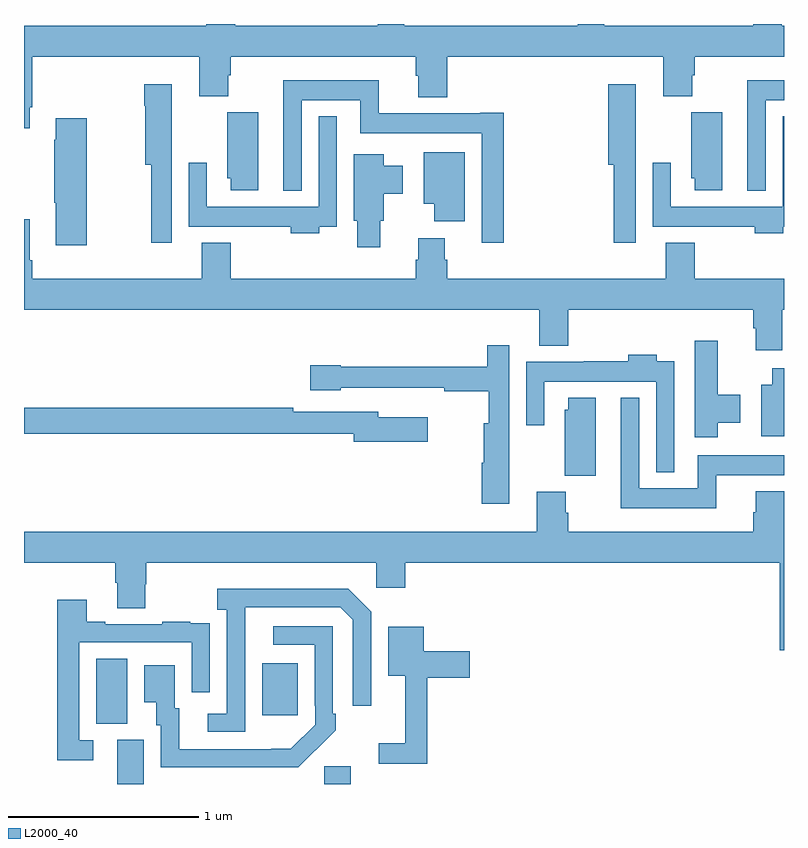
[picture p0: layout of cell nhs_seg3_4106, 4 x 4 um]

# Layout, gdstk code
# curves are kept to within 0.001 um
import gdstk
lib = gdstk.Library(unit=1e-6, precision=1e-09)
def R(c, l, rs):  # rectangles x0, y0, x1, y1
    for r in rs: c.add(gdstk.rectangle(r[:2], r[2:], *l))
def P(c, l, *ps):  # polygons
    for p in ps: c.add(gdstk.Polygon(p, *l))
L2000_40 = (2000, 40)

nhs_seg3_4106 = lib.new_cell('nhs_seg3_4106')
R(nhs_seg3_4106, L2000_40, [(327.491,718.4,327.631,718.632), (328.581,718.4,328.72,718.494), (327.38,718.717,327.544,719.06), (328.253,718.761,328.441,719.035)])
P(nhs_seg3_4106, L2000_40, [(329.063,722.127),(329.075,722.127),(329.075,722.015),(329.228,722.015),(329.228,722.228),(330.365,722.228),(330.365,722.02),(330.517,722.02),(330.517,722.129),(330.53,722.129),(330.53,722.228),(331,722.228),(331,722.392),(330.987,722.392),(330.987,722.4),(330.839,722.4),(330.839,722.392),(330.055,722.392),(330.055,722.4),(329.915,722.4),(329.915,722.392),(329.001,722.392),(329.001,722.4),(328.863,722.4),(328.863,722.392),(328.111,722.392),(328.111,722.4),(327.959,722.4),(327.959,722.392),(327,722.392),(327,721.851),(327.031,721.851),(327.031,721.963),(327.044,721.963),(327.044,722.228),(327.923,722.228),(327.923,722.02),(328.075,722.02),(328.075,722.129),(328.088,722.129),(328.088,722.228),(329.063,722.228)],
  [(329.525,721.933),(329.402,721.933),(329.402,721.93),(328.868,721.93),(328.868,722.104),(328.364,722.104),(328.364,721.523),(328.461,721.523),(328.461,722),(328.77,722),(328.77,721.826),(329.409,721.826),(329.409,721.248),(329.525,721.248)],
  [(330.903,722),(331,722),(331,722.104),(330.806,722.104),(330.806,721.523),(330.903,721.523)],
  [(327.777,721.762),(327.778,721.762),(327.778,722.083),(327.632,722.083),(327.632,721.97),(327.637,721.97),(327.637,721.658),(327.669,721.658),(327.669,721.248),(327.777,721.248)],
  [(330.219,721.762),(330.22,721.762),(330.22,722.083),(330.074,722.083),(330.074,721.658),(330.103,721.658),(330.103,721.248),(330.219,721.248)],
  [(328.234,721.935),(328.07,721.935),(328.07,721.587),(328.088,721.587),(328.088,721.524),(328.234,721.524)],
  [(330.676,721.935),(330.512,721.935),(330.512,721.587),(330.53,721.587),(330.53,721.524),(330.676,721.524)],
  [(330.997,721.332),(331,721.332),(331,721.915),(330.993,721.915),(330.993,721.438),(330.405,721.438),(330.405,721.669),(330.309,721.669),(330.309,721.334),(330.613,721.334),(330.613,721.332),(330.845,721.332),(330.845,721.298),(330.997,721.298)],
  [(328.555,721.332),(328.647,721.332),(328.647,721.915),(328.551,721.915),(328.551,721.438),(327.963,721.438),(327.963,721.669),(327.867,721.669),(327.867,721.334),(328.171,721.334),(328.171,721.332),(328.403,721.332),(328.403,721.298),(328.555,721.298)],
  [(327.33,721.903),(327.167,721.903),(327.167,721.79),(327.16,721.79),(327.16,721.459),(327.167,721.459),(327.167,721.236),(327.33,721.236)],
  [(329.32,721.726),(329.105,721.726),(329.105,721.454),(329.159,721.454),(329.159,721.361),(329.32,721.361)],
  [(328.876,721.365),(328.894,721.365),(328.894,721.507),(328.993,721.507),(328.993,721.654),(328.894,721.654),(328.894,721.714),(328.736,721.714),(328.736,721.365),(328.754,721.365),(328.754,721.224),(328.876,721.224)],
  [(327.031,721.156),(327.031,721.372),(327,721.372),(327,720.896),(329.711,720.896),(329.711,720.707),(329.864,720.707),(329.864,720.896),(330.839,720.896),(330.839,720.798),(330.851,720.798),(330.851,720.684),(330.991,720.684),(330.991,720.896),(331,720.896),(331,721.06),(330.53,721.06),(330.53,721.249),(330.377,721.249),(330.377,721.06),(329.228,721.06),(329.228,721.158),(329.215,721.158),(329.215,721.273),(329.075,721.273),(329.075,721.158),(329.063,721.158),(329.063,721.06),(328.088,721.06),(328.088,721.249),(327.935,721.249),(327.935,721.06),(327.044,721.06),(327.044,721.156)],
  [(330.652,720.302),(330.769,720.302),(330.769,720.45),(330.652,720.45),(330.652,720.733),(330.53,720.733),(330.53,720.225),(330.652,720.225)],
  [(329.554,720.194),(329.553,720.194),(329.553,720.709),(329.437,720.709),(329.437,720.595),(328.668,720.595),(328.668,720.603),(328.506,720.603),(328.506,720.473),(328.668,720.473),(328.668,720.486),(328.96,720.486),(328.96,720.485),(329.212,720.485),(329.212,720.466),(329.445,720.466),(329.445,720.298),(329.42,720.298),(329.42,720.09),(329.408,720.09),(329.408,719.874),(329.554,719.874)],
  [(330.423,720.625),(330.331,720.625),(330.331,720.658),(330.179,720.658),(330.179,720.625),(329.947,720.625),(329.947,720.622),(329.643,720.622),(329.643,720.288),(329.739,720.288),(329.739,720.518),(330.327,720.518),(330.327,720.041),(330.423,720.041)],
  [(331,720.589),(330.938,720.589),(330.938,720.502),(330.881,720.502),(330.881,720.23),(331,720.23)],
  [(330.01,720.433),(329.864,720.433),(329.864,720.369),(329.846,720.369),(329.846,720.022),(330.01,720.022)],
  [(330.644,720.026),(331,720.026),(331,720.13),(330.546,720.13),(330.546,719.956),(330.237,719.956),(330.237,720.433),(330.14,720.433),(330.14,719.852),(330.644,719.852)],
  [(329.125,720.331),(328.864,720.331),(328.864,720.36),(328.418,720.36),(328.418,720.38),(327,720.38),(327,720.244),(328.736,720.244),(328.736,720.202),(329.125,720.202)],
  [(331,719.941),(330.851,719.941),(330.851,719.829),(330.839,719.829),(330.839,719.728),(329.864,719.728),(329.864,719.828),(329.851,719.828),(329.851,719.937),(329.699,719.937),(329.699,719.728),(327,719.728),(327,719.564),(327.479,719.564),(327.479,719.458),(327.491,719.458),(327.491,719.326),(327.639,719.326),(327.639,719.451),(327.644,719.451),(327.644,719.564),(328.854,719.564),(328.854,719.433),(329.006,719.433),(329.006,719.564),(330.977,719.564),(330.977,719.103),(331,719.103)],
  [(328.164,719.131),(328.165,719.331),(328.665,719.331),(328.731,719.265),(328.731,718.812),(328.827,718.812),(328.827,719.307),(328.706,719.428),(328.017,719.428),(328.017,719.318),(328.068,719.318),(328.068,718.77),(327.966,718.77),(327.966,718.674),(328.164,718.674)],
  [(327.364,718.629),(327.291,718.629),(327.291,719.145),(327.882,719.145),(327.882,718.884),(327.978,718.884),(327.978,719.138),(327.977,719.138),(327.977,719.247),(327.875,719.247),(327.875,719.254),(327.727,719.254),(327.727,719.241),(327.427,719.241),(327.427,719.254),(327.331,719.254),(327.331,719.371),(327.175,719.371),(327.175,718.524),(327.364,718.524)],
  [(328.535,718.579),(328.536,718.578),(328.641,718.683),(328.641,718.771),(328.626,718.771),(328.626,719.229),(328.311,719.229),(328.311,719.133),(328.53,719.133),(328.53,718.813),(328.533,718.813),(328.533,718.713),(328.405,718.585),(327.817,718.584),(327.817,718.8),(327.793,718.8),(327.793,719.026),(327.632,719.026),(327.632,718.829),(327.695,718.829),(327.695,718.71),(327.72,718.71),(327.72,718.488),(328.444,718.488)],
  [(329.123,718.958),(329.347,718.958),(329.347,719.1),(329.104,719.1),(329.104,719.227),(328.916,719.227),(328.916,718.97),(329.006,718.97),(329.006,718.615),(328.866,718.615),(328.866,718.506),(329.123,718.506)])

lib.write_gds('nhs_seg3_4106.gds')
